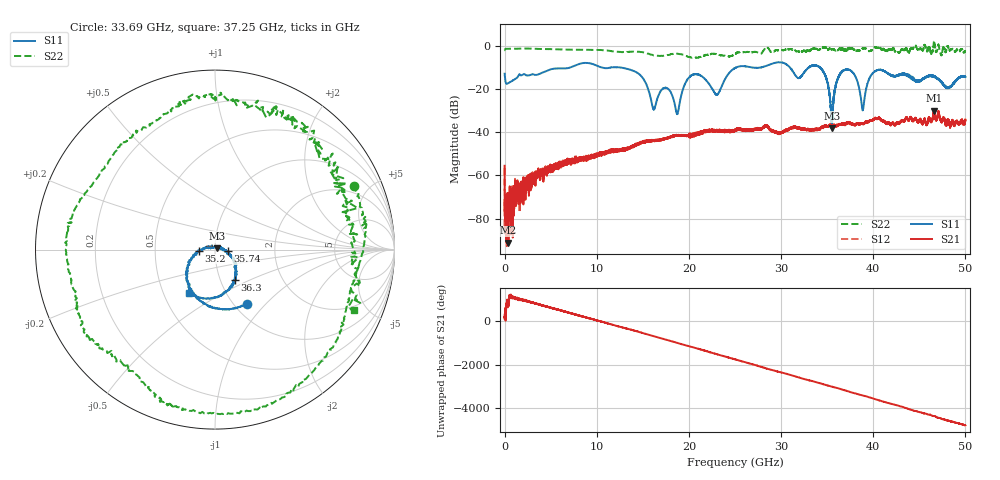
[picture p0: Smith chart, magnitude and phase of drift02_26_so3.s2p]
!Created with skrf (http://scikit-rf.org).
# Hz S RI R 50.0
!freq ReS11 ImS11 ReS21 ImS21 ReS12 ImS12 ReS22 ImS22
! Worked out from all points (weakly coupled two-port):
!   10001 points, 300 kHz to 50 GHz, reference 50 ohm
!   highest |S21| = -30.12 dB at 46.6 GHz (marker M1); lowest = -91.1 dB at 375.3 MHz (marker M2)
!   lowest |S11| = -38.3 dB at 35.54 GHz (marker M3), VSWR 1.02, Z = 51 + j0.742 ohm
!   |S11| at or under -10 dB: start of sweep to 7.176 GHz; 12.34 GHz to 25.16 GHz (12.83 GHz wide, 68.4 % of centre); 34.21 GHz to end of sweep (the widest 3 of 20)
!   |S22| runs from -5.7 to 2.4 dB; largest |S21 - S12| = 0.0034
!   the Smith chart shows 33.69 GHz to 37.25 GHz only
!   S11 on the Smith chart (normalised r, x): 33.69 GHz: 1.15, -0.78; 35.2 GHz: 0.83, -0.01; 35.74 GHz: 1.15, -0.02; 36.3 GHz: 1.17, -0.41; 37.25 GHz: 0.67, -0.35
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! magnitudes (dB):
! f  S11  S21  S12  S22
! 300 kHz  -13.0  -55.5  -56.6  -2.1
! 375.3 MHz  -17.4  -91.1  -78.9  -1.4
! 8.335 GHz  -8.2  -52.4  -53.3  -1.9
! 14.02 GHz  -11.7  -46.1  -46.4  -2.8
! 16.15 GHz  -29.3  -44.0  -43.9  -4.5
! 16.67 GHz  -23.3  -43.7  -43.6  -4.7
! 18.74 GHz  -31.6  -41.5  -41.4  -3.7
! 20.23 GHz  -13.9  -41.7  -41.4  -5.5
! 23.04 GHz  -22.6  -39.3  -39.4  -4.1
! 25 GHz  -10.3  -38.8  -39.1  -3.9
! 33.34 GHz  -9.3  -38.5  -38.7  -1.6
! 33.69 GHz  -9.1  -38.8  -38.4  -1.4
! 35.2 GHz  -20.8  -37.0  -37.1  -1.4
! 35.54 GHz  -38.3  -37.1  -36.9  -1.7
! 35.74 GHz  -23.1  -36.9  -36.6  -1.8
! 36.3 GHz  -14.0  -36.4  -36.4  -1.4
! 37.25 GHz  -11.0  -35.9  -35.7  -1.4
! 38.86 GHz  -29.9  -35.9  -36.0  -1.4
! 39.94 GHz  -12.8  -34.4  -34.4  -2.0
! 41.67 GHz  -13.0  -35.5  -35.5  -1.8
! 46.6 GHz  -14.4  -30.1  -30.7  2.0
! 50 GHz  -14.4  -34.3  -34.3  -2.6
